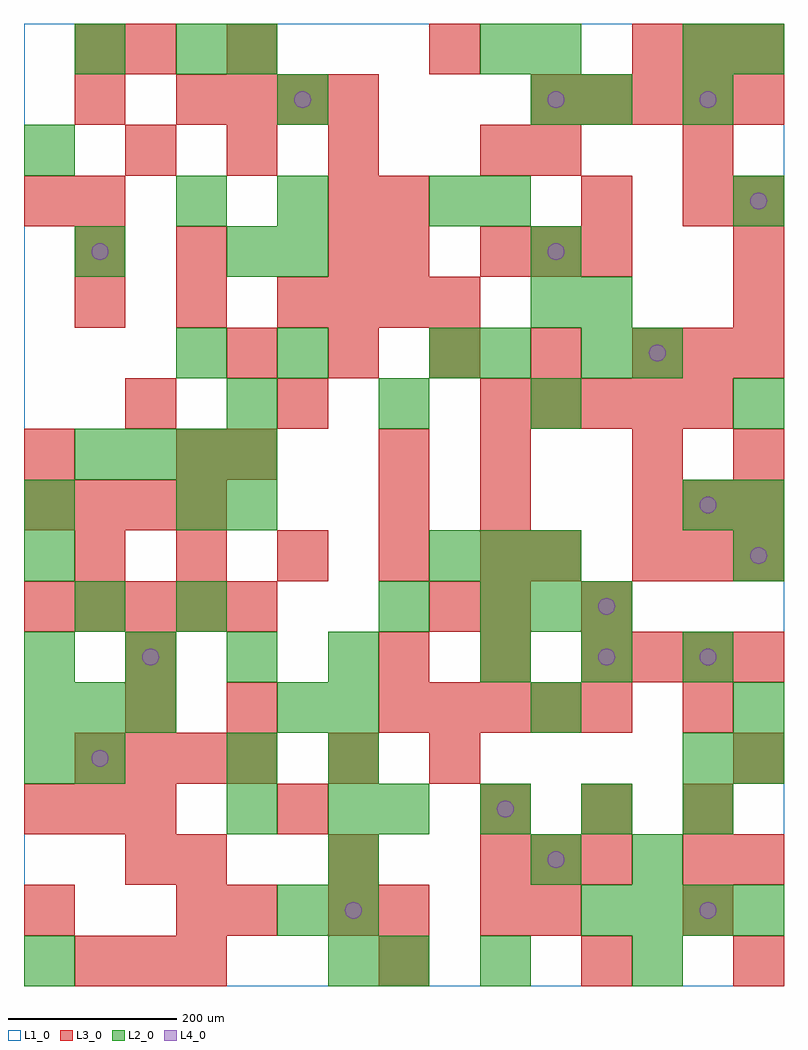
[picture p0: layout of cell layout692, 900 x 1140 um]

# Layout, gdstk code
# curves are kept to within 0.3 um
import gdstk
lib = gdstk.Library(unit=1e-6, precision=1e-09)
def R(c, l, rs):  # rectangles x0, y0, x1, y1
    for r in rs: c.add(gdstk.rectangle(r[:2], r[2:], *l))
def A(c, l, x, y, w, h, nx, ny, dx, dy):  # array of equal rectangles
    R(c, l, [(x+i*dx, y+j*dy, x+i*dx+w, y+j*dy+h) for i in range(nx) for j in range(ny)])
def P(c, l, *ps):  # polygons
    for p in ps: c.add(gdstk.Polygon(p, *l))
L1_0 = (1, 0)
L2_0 = (2, 0)
L3_0 = (3, 0)
L4_0 = (4, 0)

layout692 = lib.new_cell('layout692')
R(layout692, L1_0, [(0,0,900,1140)])
A(layout692, L2_0, 0, 0, 60, 60, 1, 3, 0, 240)
A(layout692, L2_0, 360, 0, 60, 60, 1, 5, 0, 60)
A(layout692, L2_0, 660, 60, 60, 60, 4, 1, 60, 0)
A(layout692, L2_0, 420, 180, 60, 60, 4, 1, 120, 0)
A(layout692, L2_0, 240, 240, 60, 60, 1, 3, 0, 300)
A(layout692, L2_0, 0, 300, 60, 60, 3, 1, 60, 0)
A(layout692, L2_0, 360, 300, 60, 60, 3, 1, 240, 0)
A(layout692, L2_0, 0, 360, 60, 60, 4, 1, 120, 0)
A(layout692, L2_0, 540, 360, 60, 60, 3, 1, 120, 0)
A(layout692, L2_0, 540, 420, 60, 60, 3, 1, 60, 0)
A(layout692, L2_0, 480, 480, 60, 60, 3, 1, 60, 0)
A(layout692, L2_0, 180, 540, 60, 60, 1, 4, 0, 180)
A(layout692, L2_0, 60, 600, 60, 60, 4, 1, 60, 0)
A(layout692, L2_0, 240, 660, 60, 60, 3, 1, 180, 0)
A(layout692, L2_0, 540, 720, 60, 60, 1, 3, 0, 180)
R(layout692, L2_0, [(420,0,480,60), (540,0,600,60), (720,0,780,60), (300,60,360,120), (600,120,660,180), (720,120,780,180), (240,180,300,240), (60,240,120,300), (780,240,840,300), (840,240,900,300), (300,300,360,360), (60,420,120,480), (180,420,240,480), (420,420,480,480), (840,480,900,540), (0,540,60,600), (780,540,840,600), (840,540,900,600), (840,660,900,720), (300,720,360,780), (480,720,540,780), (660,720,720,780), (720,720,780,780), (600,780,660,840), (660,780,720,840), (60,840,120,900), (300,840,360,900), (600,840,660,900), (300,900,360,960), (480,900,540,960), (840,900,900,960), (0,960,60,1020), (300,1020,360,1080), (600,1020,660,1080), (660,1020,720,1080), (780,1020,840,1080), (60,1080,120,1140), (240,1080,300,1140), (600,1080,660,1140), (780,1080,840,1140), (840,1080,900,1140)])
A(layout692, L3_0, 60, 0, 60, 60, 3, 1, 60, 0)
A(layout692, L3_0, 840, 0, 60, 60, 1, 3, 0, 120)
A(layout692, L3_0, 180, 120, 60, 60, 3, 1, 180, 0)
A(layout692, L3_0, 0, 180, 60, 60, 3, 1, 60, 0)
A(layout692, L3_0, 540, 180, 60, 60, 3, 1, 120, 0)
A(layout692, L3_0, 60, 240, 60, 60, 4, 1, 60, 0)
A(layout692, L3_0, 420, 300, 60, 60, 5, 1, 60, 0)
A(layout692, L3_0, 420, 360, 60, 60, 3, 1, 120, 0)
A(layout692, L3_0, 720, 360, 60, 60, 3, 2, 60, 120)
A(layout692, L3_0, 0, 420, 60, 60, 5, 1, 60, 0)
A(layout692, L3_0, 60, 480, 60, 60, 5, 1, 120, 0)
A(layout692, L3_0, 0, 540, 60, 60, 4, 1, 60, 0)
A(layout692, L3_0, 720, 540, 60, 60, 3, 1, 60, 0)
A(layout692, L3_0, 540, 660, 60, 60, 5, 1, 60, 0)
A(layout692, L3_0, 240, 720, 60, 60, 5, 1, 120, 0)
A(layout692, L3_0, 840, 720, 60, 60, 1, 4, 0, 60)
A(layout692, L3_0, 60, 780, 60, 60, 3, 1, 120, 0)
A(layout692, L3_0, 360, 780, 60, 60, 3, 1, 60, 0)
A(layout692, L3_0, 540, 840, 60, 60, 3, 1, 60, 0)
A(layout692, L3_0, 120, 960, 60, 60, 3, 1, 120, 0)
A(layout692, L3_0, 180, 1020, 60, 60, 4, 1, 60, 0)
A(layout692, L3_0, 600, 1020, 60, 60, 5, 1, 60, 0)
A(layout692, L3_0, 240, 1080, 60, 60, 3, 1, 240, 0)
R(layout692, L3_0, [(420,0,480,60), (660,0,720,60), (0,60,60,120), (180,60,240,120), (240,60,300,120), (360,60,420,120), (420,60,480,120), (540,60,600,120), (600,60,660,120), (780,60,840,120), (120,120,180,180), (600,120,660,180), (660,120,720,180), (780,120,840,180), (300,180,360,240), (360,240,420,300), (480,240,540,300), (120,300,180,360), (240,300,300,360), (780,300,840,360), (120,360,180,420), (480,420,540,480), (540,420,600,480), (660,420,720,480), (600,480,660,540), (420,540,480,600), (540,540,600,600), (0,600,60,660), (180,600,240,660), (240,600,300,660), (420,600,480,660), (540,600,600,660), (720,600,780,660), (840,600,900,660), (120,660,180,720), (300,660,360,720), (780,720,840,780), (60,840,120,900), (180,840,240,900), (360,840,420,900), (420,840,480,900), (0,900,60,960), (60,900,120,960), (360,900,420,960), (420,900,480,960), (660,900,720,960), (780,900,840,960), (540,960,600,1020), (600,960,660,1020), (780,960,840,1020), (60,1020,120,1080), (60,1080,120,1140), (120,1080,180,1140), (780,1080,840,1140), (840,1080,900,1140)])
P(layout692, L4_0, [(100,270),(99.239,273.827),(97.071,277.071),(93.827,279.239),(90,280),(86.173,279.239),(82.929,277.071),(80.761,273.827),(80,270),(80.761,266.173),(82.929,262.929),(86.173,260.761),(90,260),(93.827,260.761),(97.071,262.929),(99.239,266.173)],
  [(100,870),(99.239,873.827),(97.071,877.071),(93.827,879.239),(90,880),(86.173,879.239),(82.929,877.071),(80.761,873.827),(80,870),(80.761,866.173),(82.929,862.929),(86.173,860.761),(90,860),(93.827,860.761),(97.071,862.929),(99.239,866.173)],
  [(160,390),(159.239,393.827),(157.071,397.071),(153.827,399.239),(150,400),(146.173,399.239),(142.929,397.071),(140.761,393.827),(140,390),(140.761,386.173),(142.929,382.929),(146.173,380.761),(150,380),(153.827,380.761),(157.071,382.929),(159.239,386.173)],
  [(340,1050),(339.239,1053.827),(337.071,1057.071),(333.827,1059.239),(330,1060),(326.173,1059.239),(322.929,1057.071),(320.761,1053.827),(320,1050),(320.761,1046.173),(322.929,1042.929),(326.173,1040.761),(330,1040),(333.827,1040.761),(337.071,1042.929),(339.239,1046.173)],
  [(400,90),(399.239,93.827),(397.071,97.071),(393.827,99.239),(390,100),(386.173,99.239),(382.929,97.071),(380.761,93.827),(380,90),(380.761,86.173),(382.929,82.929),(386.173,80.761),(390,80),(393.827,80.761),(397.071,82.929),(399.239,86.173)],
  [(580,210),(579.239,213.827),(577.071,217.071),(573.827,219.239),(570,220),(566.173,219.239),(562.929,217.071),(560.761,213.827),(560,210),(560.761,206.173),(562.929,202.929),(566.173,200.761),(570,200),(573.827,200.761),(577.071,202.929),(579.239,206.173)],
  [(640,150),(639.239,153.827),(637.071,157.071),(633.827,159.239),(630,160),(626.173,159.239),(622.929,157.071),(620.761,153.827),(620,150),(620.761,146.173),(622.929,142.929),(626.173,140.761),(630,140),(633.827,140.761),(637.071,142.929),(639.239,146.173)],
  [(640,870),(639.239,873.827),(637.071,877.071),(633.827,879.239),(630,880),(626.173,879.239),(622.929,877.071),(620.761,873.827),(620,870),(620.761,866.173),(622.929,862.929),(626.173,860.761),(630,860),(633.827,860.761),(637.071,862.929),(639.239,866.173)],
  [(640,1050),(639.239,1053.827),(637.071,1057.071),(633.827,1059.239),(630,1060),(626.173,1059.239),(622.929,1057.071),(620.761,1053.827),(620,1050),(620.761,1046.173),(622.929,1042.929),(626.173,1040.761),(630,1040),(633.827,1040.761),(637.071,1042.929),(639.239,1046.173)],
  [(700,390),(699.239,393.827),(697.071,397.071),(693.827,399.239),(690,400),(686.173,399.239),(682.929,397.071),(680.761,393.827),(680,390),(680.761,386.173),(682.929,382.929),(686.173,380.761),(690,380),(693.827,380.761),(697.071,382.929),(699.239,386.173)],
  [(700,450),(699.239,453.827),(697.071,457.071),(693.827,459.239),(690,460),(686.173,459.239),(682.929,457.071),(680.761,453.827),(680,450),(680.761,446.173),(682.929,442.929),(686.173,440.761),(690,440),(693.827,440.761),(697.071,442.929),(699.239,446.173)],
  [(760,750),(759.239,753.827),(757.071,757.071),(753.827,759.239),(750,760),(746.173,759.239),(742.929,757.071),(740.761,753.827),(740,750),(740.761,746.173),(742.929,742.929),(746.173,740.761),(750,740),(753.827,740.761),(757.071,742.929),(759.239,746.173)],
  [(820,90),(819.239,93.827),(817.071,97.071),(813.827,99.239),(810,100),(806.173,99.239),(802.929,97.071),(800.761,93.827),(800,90),(800.761,86.173),(802.929,82.929),(806.173,80.761),(810,80),(813.827,80.761),(817.071,82.929),(819.239,86.173)],
  [(820,390),(819.239,393.827),(817.071,397.071),(813.827,399.239),(810,400),(806.173,399.239),(802.929,397.071),(800.761,393.827),(800,390),(800.761,386.173),(802.929,382.929),(806.173,380.761),(810,380),(813.827,380.761),(817.071,382.929),(819.239,386.173)],
  [(820,570),(819.239,573.827),(817.071,577.071),(813.827,579.239),(810,580),(806.173,579.239),(802.929,577.071),(800.761,573.827),(800,570),(800.761,566.173),(802.929,562.929),(806.173,560.761),(810,560),(813.827,560.761),(817.071,562.929),(819.239,566.173)],
  [(820,1050),(819.239,1053.827),(817.071,1057.071),(813.827,1059.239),(810,1060),(806.173,1059.239),(802.929,1057.071),(800.761,1053.827),(800,1050),(800.761,1046.173),(802.929,1042.929),(806.173,1040.761),(810,1040),(813.827,1040.761),(817.071,1042.929),(819.239,1046.173)],
  [(880,510),(879.239,513.827),(877.071,517.071),(873.827,519.239),(870,520),(866.173,519.239),(862.929,517.071),(860.761,513.827),(860,510),(860.761,506.173),(862.929,502.929),(866.173,500.761),(870,500),(873.827,500.761),(877.071,502.929),(879.239,506.173)],
  [(880,930),(879.239,933.827),(877.071,937.071),(873.827,939.239),(870,940),(866.173,939.239),(862.929,937.071),(860.761,933.827),(860,930),(860.761,926.173),(862.929,922.929),(866.173,920.761),(870,920),(873.827,920.761),(877.071,922.929),(879.239,926.173)])

lib.write_gds('layout692.gds')
